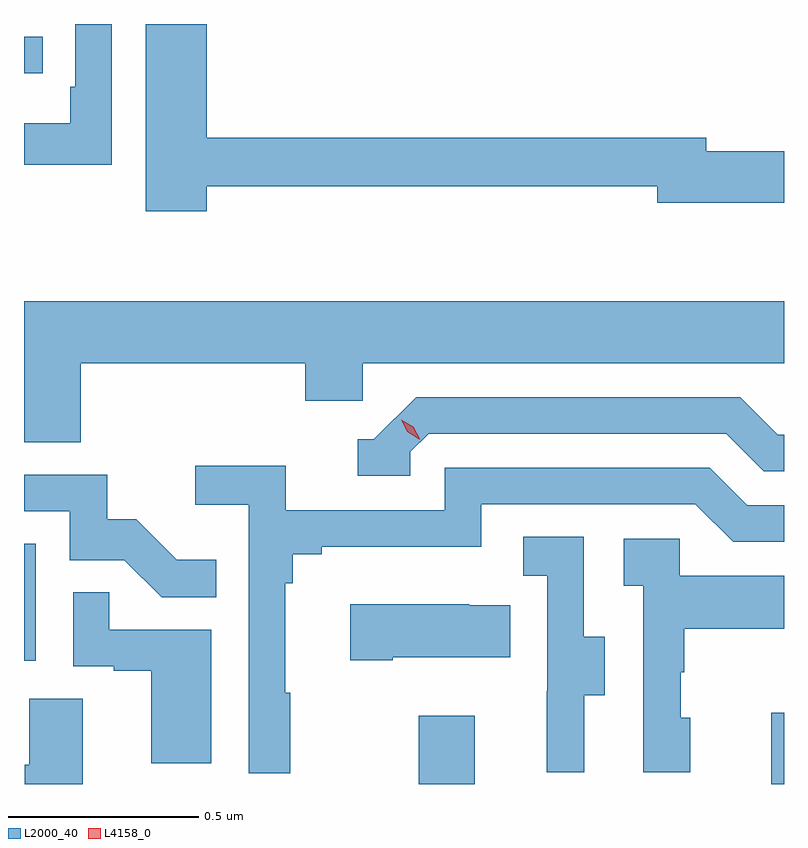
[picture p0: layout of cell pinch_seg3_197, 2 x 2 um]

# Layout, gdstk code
import gdstk
lib = gdstk.Library(unit=1e-6, precision=1e-09)
def R(c, l, rs):  # rectangles x0, y0, x1, y1
    for r in rs: c.add(gdstk.rectangle(r[:2], r[2:], *l))
def P(c, l, *ps):  # polygons
    for p in ps: c.add(gdstk.Polygon(p, *l))
L2000_40 = (2000, 40)
L4158_0 = (4158, 0)

pinch_seg3_197 = lib.new_cell('pinch_seg3_197')
R(pinch_seg3_197, L2000_40, [(976.57,729.113,976.717,729.292), (977.498,729.113,977.531,729.301), (975.531,729.438,975.562,729.745), (975.531,730.983,975.58,731.079)])
P(pinch_seg3_197, L2000_40, [(976.012,730.686),(977.198,730.686),(977.198,730.643),(977.531,730.643),(977.531,730.778),(977.326,730.778),(977.326,730.814),(976.012,730.814),(976.012,731.113),(975.851,731.113),(975.851,730.62),(976.012,730.62)],
  [(975.762,731.113),(975.666,731.113),(975.666,730.948),(975.653,730.948),(975.653,730.852),(975.531,730.852),(975.531,730.743),(975.762,730.743)],
  [(975.68,730.22),(976.271,730.22),(976.271,730.122),(976.422,730.122),(976.422,730.22),(977.531,730.22),(977.531,730.384),(975.531,730.384),(975.531,730.012),(975.68,730.012)],
  [(976.548,729.987),(976.596,730.035),(977.379,730.035),(977.478,729.936),(977.531,729.936),(977.531,730.032),(977.515,730.032),(977.416,730.131),(976.563,730.131),(976.452,730.02),(976.409,730.02),(976.409,729.924),(976.548,729.924)],
  [(976.231,729.353),(976.219,729.353),(976.219,729.641),(976.238,729.641),(976.238,729.718),(976.315,729.718),(976.315,729.737),(976.734,729.737),(976.734,729.849),(977.298,729.849),(977.397,729.75),(977.531,729.75),(977.531,729.846),(977.434,729.846),(977.335,729.945),(976.638,729.945),(976.638,729.834),(976.22,729.834),(976.22,729.95),(975.981,729.95),(975.981,729.848),(976.122,729.848),(976.122,729.141),(976.231,729.141)],
  [(976.037,729.703),(975.933,729.703),(975.826,729.81),(975.75,729.81),(975.75,729.927),(975.531,729.927),(975.531,729.831),(975.651,729.831),(975.651,729.702),(975.795,729.702),(975.893,729.604),(976.037,729.604)],
  [(977.005,729.346),(977.059,729.346),(977.059,729.501),(977.004,729.501),(977.004,729.764),(976.845,729.764),(976.845,729.661),(976.908,729.661),(976.908,729.357),(976.907,729.357),(976.907,729.144),(977.005,729.144)],
  [(977.284,729.288),(977.259,729.288),(977.259,729.407),(977.269,729.407),(977.269,729.521),(977.531,729.521),(977.531,729.661),(977.256,729.661),(977.256,729.759),(977.109,729.759),(977.109,729.635),(977.16,729.635),(977.16,729.144),(977.284,729.144)],
  [(976.024,729.519),(975.755,729.519),(975.755,729.617),(975.66,729.617),(975.66,729.423),(975.767,729.423),(975.767,729.411),(975.866,729.411),(975.866,729.168),(976.024,729.168)],
  [(976.501,729.446),(976.811,729.446),(976.811,729.583),(976.703,729.583),(976.703,729.586),(976.389,729.586),(976.389,729.439),(976.501,729.439)],
  [(975.685,729.338),(975.545,729.338),(975.545,729.164),(975.533,729.164),(975.533,729.113),(975.685,729.113)])
P(pinch_seg3_197, L4158_0, [(976.571,730.02),(976.54,730.04),(976.524,730.072),(976.524,730.072),(976.524,730.072),(976.555,730.053),(976.572,730.021),(976.572,730.02)])

lib.write_gds('pinch_seg3_197.gds')
